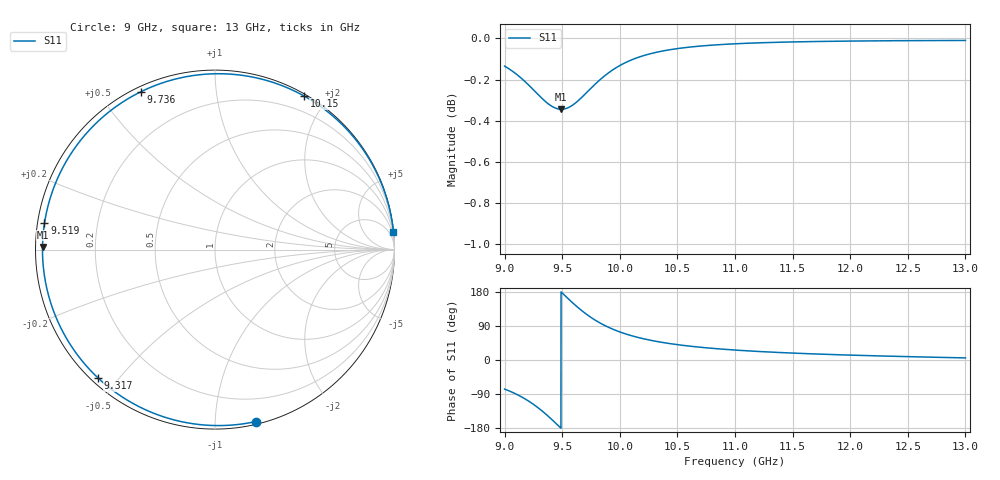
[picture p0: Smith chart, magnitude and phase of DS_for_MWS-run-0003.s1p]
! TOUCHSTONE file generated by CST DESIGN STUDIO
! Date and time: Tue Feb  4 17:46:13 2025
! Project name: C:\Work\MatlabApps\UnitCellOptimizationMatlab\CST\unitcell.cst
! Tree item: Tasks\Sweep1\SPara1\S-Parameters
! Header version: 2024
! Port assignment regex: !\s*Touchstone port\s*([0-9]+)\s*=\s*(CST MWS port|CST DES external port|CST DES block port)\s*(.+)\s* \(\"(.*)\"\)(\s*mode\s*([0-9]+))?.*
! Touchstone port assignment:
! Touchstone port 1 = CST DES external port 1 ("")
# GHz S MA R 50
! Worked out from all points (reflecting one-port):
!   4001 points, 9 GHz to 13 GHz, reference 50 ohm
!   lowest |S11| = -0.3 dB at 9.492 GHz (marker M1), VSWR 50.50, Z = 0.99 + j0.362 ohm
!   phase of S11 starts at -77 deg and turns -278 deg over the sweep
!   S11 on the Smith chart (normalised r, x): 9 GHz: 0.02, -1.26; 9.317 GHz: 0.02, -0.44; 9.519 GHz: 0.02, +0.08; 9.736 GHz: 0.02, +0.63; 10.15 GHz: 0.02, +1.73; 13 GHz: 0, +21
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9  0.9847 -76.8
9.081  0.9812 -87.1
9.181  0.9759 -103.3
9.252  0.9716 -117.4
9.317  0.9675 -132.4
9.363  0.9649 -144.2
9.412  0.9627 -157.6
9.453  0.9615 -169.4
9.492  0.9612 179.2
9.5  0.9612 176.8
9.519  0.9613 171.3
9.572  0.9627 156.0
9.632  0.9654 139.7
9.683  0.9684 127.1
9.736  0.9717 115.2
9.79  0.975 104.5
9.849  0.9783 94.3
9.924  0.982 83.3
10  0.985 74.1
10.152  0.9893 60.0
10.31  0.9922 49.5
10.5  0.9944 40.5
10.722  0.9959 33.0
11  0.997 26.2
11.5  0.9981 18.2
12  0.9986 12.9
12.5  0.9988 8.9
13  0.9989 5.5
